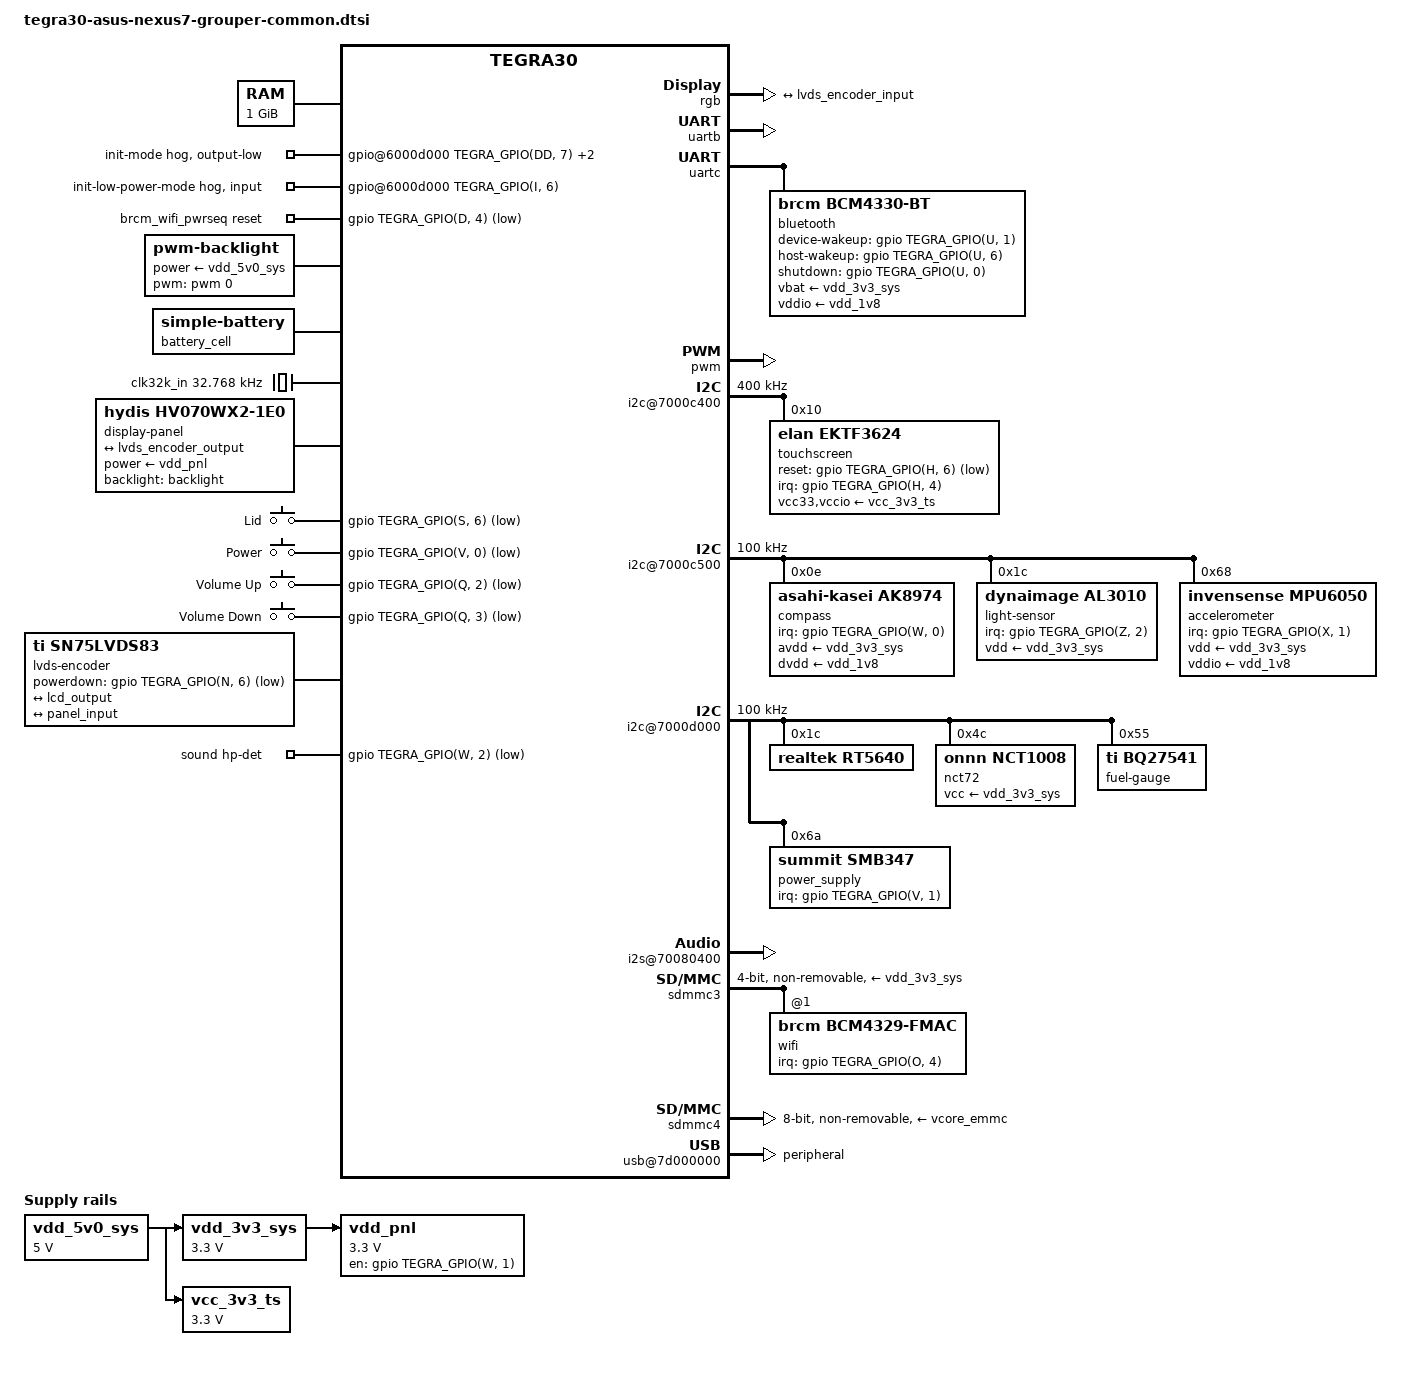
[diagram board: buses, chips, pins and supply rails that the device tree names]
// SPDX-License-Identifier: GPL-2.0

#include <dt-bindings/input/gpio-keys.h>
#include <dt-bindings/input/input.h>
#include <dt-bindings/power/summit,smb347-charger.h>
#include <dt-bindings/thermal/thermal.h>

#include "tegra30.dtsi"
#include "tegra30-cpu-opp.dtsi"
#include "tegra30-cpu-opp-microvolt.dtsi"

/ {
	aliases {
		mmc0 = &sdmmc4; /* eMMC */
		mmc1 = &sdmmc3; /* WiFi */

		rtc0 = &pmic;
		rtc1 = "/rtc@7000e000";

		serial1 = &uartc; /* Bluetooth */
		serial2 = &uartb; /* GPS */
	};

	/*
	 * The decompressor and also some bootloaders rely on a
	 * pre-existing /chosen node to be available to insert the
	 * command line and merge other ATAGS info.
	 */
	chosen {};

	memory@80000000 {
		reg = <0x80000000 0x40000000>;
	};

	reserved-memory {
		#address-cells = <1>;
		#size-cells = <1>;
		ranges;

		linux,cma@80000000 {
			compatible = "shared-dma-pool";
			alloc-ranges = <0x80000000 0x30000000>;
			size = <0x10000000>; /* 256MiB */
			linux,cma-default;
			reusable;
		};

		ramoops@bfdf0000 {
			compatible = "ramoops";
			reg = <0xbfdf0000 0x10000>;	/* 64kB */
			console-size = <0x8000>;	/* 32kB */
			record-size = <0x400>;		/*  1kB */
			ecc-size = <16>;
		};

		trustzone@bfe00000 {
			reg = <0xbfe00000 0x200000>;
			no-map;
		};
	};

	host1x@50000000 {
		dc@54200000 {
			rgb {
				status = "okay";

				port@0 {
					lcd_output: endpoint {
						remote-endpoint = <&lvds_encoder_input>;
						bus-width = <24>;
					};
				};
			};
		};
	};

	gpio@6000d000 {
		init-mode {
			gpio-hog;
			gpios =	<TEGRA_GPIO(DD, 7) GPIO_ACTIVE_HIGH>,
				<TEGRA_GPIO(CC, 6) GPIO_ACTIVE_HIGH>,
				<TEGRA_GPIO(R, 0) GPIO_ACTIVE_HIGH>;
			output-low;
		};

		init-low-power-mode {
			gpio-hog;
			gpios = <TEGRA_GPIO(I, 6) GPIO_ACTIVE_HIGH>;
			input;
		};
	};

	pinmux@70000868 {
		pinctrl-names = "default";
		pinctrl-0 = <&state_default>;

		state_default: pinmux {
			clk_32k_out_pa0 {
				nvidia,pins = "clk_32k_out_pa0";
				nvidia,function = "blink";
				nvidia,pull = <TEGRA_PIN_PULL_NONE>;
				nvidia,tristate = <TEGRA_PIN_DISABLE>;
				nvidia,enable-input = <TEGRA_PIN_DISABLE>;
			};
			uart3_cts_n_pa1 {
				nvidia,pins = "uart3_cts_n_pa1",
						"uart3_rxd_pw7";
				nvidia,function = "uartc";
				nvidia,pull = <TEGRA_PIN_PULL_NONE>;
				nvidia,tristate = <TEGRA_PIN_DISABLE>;
				nvidia,enable-input = <TEGRA_PIN_ENABLE>;
			};
			dap2_fs_pa2 {
				nvidia,pins = "dap2_fs_pa2",
						"dap2_sclk_pa3",
						"dap2_din_pa4",
						"dap2_dout_pa5";
				nvidia,function = "i2s1";
				nvidia,pull = <TEGRA_PIN_PULL_NONE>;
				nvidia,tristate = <TEGRA_PIN_DISABLE>;
				nvidia,enable-input = <TEGRA_PIN_ENABLE>;
			};
			sdmmc3_clk_pa6 {
				nvidia,pins = "sdmmc3_clk_pa6";
				nvidia,function = "sdmmc3";
				nvidia,pull = <TEGRA_PIN_PULL_NONE>;
				nvidia,tristate = <TEGRA_PIN_DISABLE>;
				nvidia,enable-input = <TEGRA_PIN_ENABLE>;
			};
			sdmmc3_cmd_pa7 {
				nvidia,pins = "sdmmc3_cmd_pa7",
						"sdmmc3_dat3_pb4",
						"sdmmc3_dat2_pb5",
						"sdmmc3_dat1_pb6",
						"sdmmc3_dat0_pb7",
						"sdmmc3_dat4_pd1",
						"sdmmc3_dat6_pd3",
						"sdmmc3_dat7_pd4";
				nvidia,function = "sdmmc3";
				nvidia,pull = <TEGRA_PIN_PULL_UP>;
				nvidia,tristate = <TEGRA_PIN_DISABLE>;
				nvidia,enable-input = <TEGRA_PIN_ENABLE>;
			};
			gmi_a17_pb0 {
				nvidia,pins = "gmi_a17_pb0",
						"gmi_a18_pb1";
				nvidia,function = "uartd";
				nvidia,pull = <TEGRA_PIN_PULL_NONE>;
				nvidia,tristate = <TEGRA_PIN_DISABLE>;
				nvidia,enable-input = <TEGRA_PIN_ENABLE>;
			};
			lcd_pwr0_pb2 {
				nvidia,pins = "lcd_pwr0_pb2",
						"lcd_pwr1_pc1",
						"lcd_m1_pw1";
				nvidia,function = "displaya";
				nvidia,pull = <TEGRA_PIN_PULL_NONE>;
				nvidia,tristate = <TEGRA_PIN_DISABLE>;
				nvidia,enable-input = <TEGRA_PIN_DISABLE>;
			};
			lcd_pclk_pb3 {
				nvidia,pins = "lcd_pclk_pb3",
						"lcd_d0_pe0",
						"lcd_d1_pe1",
						"lcd_d2_pe2",
						"lcd_d3_pe3",
						"lcd_d4_pe4",
						"lcd_d5_pe5",
						"lcd_d6_pe6",
						"lcd_d7_pe7",
						"lcd_d8_pf0",
						"lcd_d9_pf1",
						"lcd_d10_pf2",
						"lcd_d11_pf3",
						"lcd_d12_pf4",
						"lcd_d13_pf5",
						"lcd_d14_pf6",
						"lcd_d15_pf7",
						"lcd_de_pj1",
						"lcd_hsync_pj3",
						"lcd_vsync_pj4",
						"lcd_d16_pm0",
						"lcd_d17_pm1",
						"lcd_d18_pm2",
						"lcd_d19_pm3",
						"lcd_d20_pm4",
						"lcd_d21_pm5",
						"lcd_d22_pm6",
						"lcd_d23_pm7",
						"lcd_cs0_n_pn4",
						"lcd_sdout_pn5",
						"lcd_dc0_pn6",
						"lcd_cs1_n_pw0",
						"lcd_sdin_pz2",
						"lcd_sck_pz4";
				nvidia,function = "displaya";
				nvidia,pull = <TEGRA_PIN_PULL_NONE>;
				nvidia,tristate = <TEGRA_PIN_DISABLE>;
				nvidia,enable-input = <TEGRA_PIN_ENABLE>;
			};
			uart3_rts_n_pc0 {
				nvidia,pins = "uart3_rts_n_pc0",
						"uart3_txd_pw6";
				nvidia,function = "uartc";
				nvidia,pull = <TEGRA_PIN_PULL_NONE>;
				nvidia,tristate = <TEGRA_PIN_DISABLE>;
				nvidia,enable-input = <TEGRA_PIN_DISABLE>;
			};
			uart2_txd_pc2 {
				nvidia,pins = "uart2_txd_pc2",
						"uart2_rts_n_pj6";
				nvidia,function = "uartb";
				nvidia,pull = <TEGRA_PIN_PULL_NONE>;
				nvidia,tristate = <TEGRA_PIN_DISABLE>;
				nvidia,enable-input = <TEGRA_PIN_DISABLE>;
			};
			uart2_rxd_pc3 {
				nvidia,pins = "uart2_rxd_pc3",
						"uart2_cts_n_pj5";
				nvidia,function = "uartb";
				nvidia,pull = <TEGRA_PIN_PULL_NONE>;
				nvidia,tristate = <TEGRA_PIN_DISABLE>;
				nvidia,enable-input = <TEGRA_PIN_ENABLE>;
			};
			gen1_i2c_scl_pc4 {
				nvidia,pins = "gen1_i2c_scl_pc4",
						"gen1_i2c_sda_pc5";
				nvidia,function = "i2c1";
				nvidia,pull = <TEGRA_PIN_PULL_NONE>;
				nvidia,tristate = <TEGRA_PIN_DISABLE>;
				nvidia,enable-input = <TEGRA_PIN_ENABLE>;
				nvidia,open-drain = <TEGRA_PIN_ENABLE>;
			};
			gmi_wp_n_pc7 {
				nvidia,pins = "gmi_wp_n_pc7",
						"gmi_wait_pi7",
						"gmi_cs4_n_pk2",
						"gmi_cs3_n_pk4";
				nvidia,function = "rsvd1";
				nvidia,pull = <TEGRA_PIN_PULL_NONE>;
				nvidia,tristate = <TEGRA_PIN_ENABLE>;
				nvidia,enable-input = <TEGRA_PIN_DISABLE>;
			};
			gmi_ad12_ph4 {
				nvidia,pins = "gmi_ad12_ph4",
						"gmi_cs0_n_pj0",
						"gmi_cs1_n_pj2",
						"gmi_cs2_n_pk3";
				nvidia,function = "rsvd1";
				nvidia,pull = <TEGRA_PIN_PULL_NONE>;
				nvidia,tristate = <TEGRA_PIN_ENABLE>;
				nvidia,enable-input = <TEGRA_PIN_ENABLE>;
			};
			sdmmc3_dat5_pd0 {
				nvidia,pins = "sdmmc3_dat5_pd0";
				nvidia,function = "sdmmc3";
				nvidia,pull = <TEGRA_PIN_PULL_NONE>;
				nvidia,tristate = <TEGRA_PIN_DISABLE>;
				nvidia,enable-input = <TEGRA_PIN_DISABLE>;
			};
			gmi_ad0_pg0 {
				nvidia,pins = "gmi_ad0_pg0",
						"gmi_ad1_pg1",
						"gmi_ad14_ph6",
						"pu1";
				nvidia,function = "rsvd1";
				nvidia,pull = <TEGRA_PIN_PULL_NONE>;
				nvidia,tristate = <TEGRA_PIN_DISABLE>;
				nvidia,enable-input = <TEGRA_PIN_DISABLE>;
			};
			gmi_ad2_pg2 {
				nvidia,pins = "gmi_ad2_pg2",
						"gmi_ad3_pg3",
						"gmi_ad6_pg6",
						"gmi_ad7_pg7";
				nvidia,function = "rsvd1";
				nvidia,pull = <TEGRA_PIN_PULL_DOWN>;
				nvidia,tristate = <TEGRA_PIN_DISABLE>;
				nvidia,enable-input = <TEGRA_PIN_DISABLE>;
			};
			gmi_ad4_pg4 {
				nvidia,pins = "gmi_ad4_pg4",
						"gmi_ad5_pg5";
				nvidia,function = "nand";
				nvidia,pull = <TEGRA_PIN_PULL_NONE>;
				nvidia,tristate = <TEGRA_PIN_DISABLE>;
				nvidia,enable-input = <TEGRA_PIN_ENABLE>;
			};
			gmi_ad8_ph0 {
				nvidia,pins = "gmi_ad8_ph0";
				nvidia,function = "pwm0";
				nvidia,pull = <TEGRA_PIN_PULL_NONE>;
				nvidia,tristate = <TEGRA_PIN_DISABLE>;
				nvidia,enable-input = <TEGRA_PIN_DISABLE>;
			};
			gmi_ad9_ph1 {
				nvidia,pins = "gmi_ad9_ph1";
				nvidia,function = "rsvd4";
				nvidia,pull = <TEGRA_PIN_PULL_DOWN>;
				nvidia,tristate = <TEGRA_PIN_DISABLE>;
				nvidia,enable-input = <TEGRA_PIN_DISABLE>;
			};
			gmi_ad10_ph2 {
				nvidia,pins = "gmi_ad10_ph2";
				nvidia,function = "pwm2";
				nvidia,pull = <TEGRA_PIN_PULL_NONE>;
				nvidia,tristate = <TEGRA_PIN_ENABLE>;
				nvidia,enable-input = <TEGRA_PIN_DISABLE>;
			};
			gmi_ad11_ph3 {
				nvidia,pins = "gmi_ad11_ph3";
				nvidia,function = "pwm3";
				nvidia,pull = <TEGRA_PIN_PULL_NONE>;
				nvidia,tristate = <TEGRA_PIN_DISABLE>;
				nvidia,enable-input = <TEGRA_PIN_DISABLE>;
			};
			gmi_ad13_ph5 {
				nvidia,pins = "gmi_ad13_ph5",
						"gmi_wr_n_pi0",
						"gmi_oe_n_pi1",
						"gmi_adv_n_pk0";
				nvidia,function = "rsvd1";
				nvidia,pull = <TEGRA_PIN_PULL_NONE>;
				nvidia,tristate = <TEGRA_PIN_ENABLE>;
				nvidia,enable-input = <TEGRA_PIN_DISABLE>;
			};
			gmi_ad15_ph7 {
				nvidia,pins = "gmi_ad15_ph7";
				nvidia,function = "rsvd1";
				nvidia,pull = <TEGRA_PIN_PULL_UP>;
				nvidia,tristate = <TEGRA_PIN_DISABLE>;
				nvidia,enable-input = <TEGRA_PIN_DISABLE>;
			};
			gmi_dqs_pi2 {
				nvidia,pins = "gmi_dqs_pi2",
						"pu2",
						"pv1";
				nvidia,function = "rsvd1";
				nvidia,pull = <TEGRA_PIN_PULL_NONE>;
				nvidia,tristate = <TEGRA_PIN_DISABLE>;
				nvidia,enable-input = <TEGRA_PIN_ENABLE>;
			};
			gmi_rst_n_pi4 {
				nvidia,pins = "gmi_rst_n_pi4";
				nvidia,function = "nand";
				nvidia,pull = <TEGRA_PIN_PULL_UP>;
				nvidia,tristate = <TEGRA_PIN_DISABLE>;
				nvidia,enable-input = <TEGRA_PIN_DISABLE>;
			};
			gmi_iordy_pi5 {
				nvidia,pins = "gmi_iordy_pi5";
				nvidia,function = "rsvd1";
				nvidia,pull = <TEGRA_PIN_PULL_UP>;
				nvidia,tristate = <TEGRA_PIN_DISABLE>;
				nvidia,enable-input = <TEGRA_PIN_ENABLE>;
			};
			gmi_cs7_n_pi6 {
				nvidia,pins = "gmi_cs7_n_pi6",
						"gmi_clk_pk1";
				nvidia,function = "nand";
				nvidia,pull = <TEGRA_PIN_PULL_NONE>;
				nvidia,tristate = <TEGRA_PIN_ENABLE>;
				nvidia,enable-input = <TEGRA_PIN_DISABLE>;
			};
			gmi_a16_pj7 {
				nvidia,pins = "gmi_a16_pj7",
						"gmi_a19_pk7";
				nvidia,function = "uartd";
				nvidia,pull = <TEGRA_PIN_PULL_NONE>;
				nvidia,tristate = <TEGRA_PIN_DISABLE>;
				nvidia,enable-input = <TEGRA_PIN_DISABLE>;
			};
			spdif_out_pk5 {
				nvidia,pins = "spdif_out_pk5";
				nvidia,function = "spdif";
				nvidia,pull = <TEGRA_PIN_PULL_NONE>;
				nvidia,tristate = <TEGRA_PIN_DISABLE>;
				nvidia,enable-input = <TEGRA_PIN_DISABLE>;
			};
			spdif_in_pk6 {
				nvidia,pins = "spdif_in_pk6";
				nvidia,function = "spdif";
				nvidia,pull = <TEGRA_PIN_PULL_NONE>;
				nvidia,tristate = <TEGRA_PIN_DISABLE>;
				nvidia,enable-input = <TEGRA_PIN_ENABLE>;
			};
			dap1_fs_pn0 {
				nvidia,pins = "dap1_fs_pn0",
						"dap1_din_pn1",
						"dap1_dout_pn2",
						"dap1_sclk_pn3";
				nvidia,function = "i2s0";
				nvidia,pull = <TEGRA_PIN_PULL_NONE>;
				nvidia,tristate = <TEGRA_PIN_DISABLE>;
				nvidia,enable-input = <TEGRA_PIN_ENABLE>;
			};
			hdmi_int_pn7 {
				nvidia,pins = "hdmi_int_pn7";
				nvidia,function = "hdmi";
				nvidia,pull = <TEGRA_PIN_PULL_NONE>;
				nvidia,tristate = <TEGRA_PIN_ENABLE>;
				nvidia,enable-input = <TEGRA_PIN_ENABLE>;
			};
			ulpi_data7_po0 {
				nvidia,pins = "ulpi_data7_po0";
				nvidia,function = "uarta";
				nvidia,pull = <TEGRA_PIN_PULL_UP>;
				nvidia,tristate = <TEGRA_PIN_ENABLE>;
				nvidia,enable-input = <TEGRA_PIN_DISABLE>;
			};
			ulpi_data3_po4 {
				nvidia,pins = "ulpi_data3_po4";
				nvidia,function = "ulpi";
				nvidia,pull = <TEGRA_PIN_PULL_NONE>;
				nvidia,tristate = <TEGRA_PIN_DISABLE>;
				nvidia,enable-input = <TEGRA_PIN_ENABLE>;
			};
			dap3_fs_pp0 {
				nvidia,pins = "dap3_fs_pp0";
				nvidia,function = "i2s2";
				nvidia,pull = <TEGRA_PIN_PULL_NONE>;
				nvidia,tristate = <TEGRA_PIN_DISABLE>;
				nvidia,enable-input = <TEGRA_PIN_DISABLE>;
			};
			dap4_fs_pp4 {
				nvidia,pins = "dap4_fs_pp4",
						"dap4_din_pp5",
						"dap4_dout_pp6",
						"dap4_sclk_pp7";
				nvidia,function = "i2s3";
				nvidia,pull = <TEGRA_PIN_PULL_NONE>;
				nvidia,tristate = <TEGRA_PIN_DISABLE>;
				nvidia,enable-input = <TEGRA_PIN_ENABLE>;
			};
			kb_col0_pq0 {
				nvidia,pins = "kb_col0_pq0",
						"kb_col1_pq1",
						"kb_row1_pr1";
				nvidia,function = "kbc";
				nvidia,pull = <TEGRA_PIN_PULL_NONE>;
				nvidia,tristate = <TEGRA_PIN_ENABLE>;
				nvidia,enable-input = <TEGRA_PIN_DISABLE>;
			};
			kb_col2_pq2 {
				nvidia,pins = "kb_col2_pq2",
						"kb_col3_pq3";
				nvidia,function = "rsvd4";
				nvidia,pull = <TEGRA_PIN_PULL_UP>;
				nvidia,tristate = <TEGRA_PIN_ENABLE>;
				nvidia,enable-input = <TEGRA_PIN_ENABLE>;
			};
			kb_col4_pq4 {
				nvidia,pins = "kb_col4_pq4",
						"kb_col5_pq5",
						"kb_col7_pq7",
						"kb_row2_pr2",
						"kb_row4_pr4",
						"kb_row5_pr5",
						"kb_row14_ps6";
				nvidia,function = "kbc";
				nvidia,pull = <TEGRA_PIN_PULL_NONE>;
				nvidia,tristate = <TEGRA_PIN_ENABLE>;
				nvidia,enable-input = <TEGRA_PIN_ENABLE>;
			};
			kb_row0_pr0 {
				nvidia,pins = "kb_row0_pr0";
				nvidia,function = "rsvd4";
				nvidia,pull = <TEGRA_PIN_PULL_UP>;
				nvidia,tristate = <TEGRA_PIN_DISABLE>;
				nvidia,enable-input = <TEGRA_PIN_DISABLE>;
			};
			kb_row6_pr6 {
				nvidia,pins = "kb_row6_pr6",
						"kb_row8_ps0",
						"kb_row9_ps1",
						"kb_row10_ps2";
				nvidia,function = "kbc";
				nvidia,pull = <TEGRA_PIN_PULL_NONE>;
				nvidia,tristate = <TEGRA_PIN_DISABLE>;
				nvidia,enable-input = <TEGRA_PIN_DISABLE>;
			};
			kb_row11_ps3 {
				nvidia,pins = "kb_row11_ps3",
						"kb_row12_ps4";
				nvidia,function = "kbc";
				nvidia,pull = <TEGRA_PIN_PULL_NONE>;
				nvidia,tristate = <TEGRA_PIN_DISABLE>;
				nvidia,enable-input = <TEGRA_PIN_ENABLE>;
			};
			gen2_i2c_scl_pt5 {
				nvidia,pins = "gen2_i2c_scl_pt5",
						"gen2_i2c_sda_pt6";
				nvidia,function = "i2c2";
				nvidia,pull = <TEGRA_PIN_PULL_NONE>;
				nvidia,tristate = <TEGRA_PIN_DISABLE>;
				nvidia,enable-input = <TEGRA_PIN_ENABLE>;
				nvidia,open-drain = <TEGRA_PIN_ENABLE>;
			};
			sdmmc4_cmd_pt7 {
				nvidia,pins = "sdmmc4_cmd_pt7",
						"sdmmc4_dat0_paa0",
						"sdmmc4_dat1_paa1",
						"sdmmc4_dat2_paa2",
						"sdmmc4_dat3_paa3",
						"sdmmc4_dat4_paa4",
						"sdmmc4_dat5_paa5",
						"sdmmc4_dat6_paa6",
						"sdmmc4_dat7_paa7";
				nvidia,function = "sdmmc4";
				nvidia,pull = <TEGRA_PIN_PULL_UP>;
				nvidia,tristate = <TEGRA_PIN_DISABLE>;
				nvidia,enable-input = <TEGRA_PIN_ENABLE>;
			};
			pu0 {
				nvidia,pins = "pu0",
						"pu6";
				nvidia,function = "rsvd4";
				nvidia,pull = <TEGRA_PIN_PULL_NONE>;
				nvidia,tristate = <TEGRA_PIN_DISABLE>;
				nvidia,enable-input = <TEGRA_PIN_ENABLE>;
			};
			jtag_rtck_pu7 {
				nvidia,pins = "jtag_rtck_pu7";
				nvidia,function = "rtck";
				nvidia,pull = <TEGRA_PIN_PULL_UP>;
				nvidia,tristate = <TEGRA_PIN_DISABLE>;
				nvidia,enable-input = <TEGRA_PIN_ENABLE>;
			};
			pv0 {
				nvidia,pins = "pv0";
				nvidia,function = "rsvd1";
				nvidia,pull = <TEGRA_PIN_PULL_UP>;
				nvidia,tristate = <TEGRA_PIN_ENABLE>;
				nvidia,enable-input = <TEGRA_PIN_ENABLE>;
			};
			ddc_scl_pv4 {
				nvidia,pins = "ddc_scl_pv4",
						"ddc_sda_pv5";
				nvidia,function = "i2c4";
				nvidia,pull = <TEGRA_PIN_PULL_NONE>;
				nvidia,tristate = <TEGRA_PIN_DISABLE>;
				nvidia,enable-input = <TEGRA_PIN_ENABLE>;
			};
			crt_hsync_pv6 {
				nvidia,pins = "crt_hsync_pv6",
						"crt_vsync_pv7";
				nvidia,function = "crt";
				nvidia,pull = <TEGRA_PIN_PULL_NONE>;
				nvidia,tristate = <TEGRA_PIN_DISABLE>;
				nvidia,enable-input = <TEGRA_PIN_DISABLE>;
			};
			spi2_cs1_n_pw2 {
				nvidia,pins = "spi2_cs1_n_pw2",
						"spi2_miso_px1",
						"spi2_sck_px2";
				nvidia,function = "spi2";
				nvidia,pull = <TEGRA_PIN_PULL_NONE>;
				nvidia,tristate = <TEGRA_PIN_DISABLE>;
				nvidia,enable-input = <TEGRA_PIN_ENABLE>;
			};
			clk1_out_pw4 {
				nvidia,pins = "clk1_out_pw4";
				nvidia,function = "extperiph1";
				nvidia,pull = <TEGRA_PIN_PULL_NONE>;
				nvidia,tristate = <TEGRA_PIN_DISABLE>;
				nvidia,enable-input = <TEGRA_PIN_ENABLE>;
			};
			clk2_out_pw5 {
				nvidia,pins = "clk2_out_pw5";
				nvidia,function = "extperiph2";
				nvidia,pull = <TEGRA_PIN_PULL_NONE>;
				nvidia,tristate = <TEGRA_PIN_DISABLE>;
				nvidia,enable-input = <TEGRA_PIN_ENABLE>;
			};
			spi2_cs0_n_px3 {
				nvidia,pins = "spi2_cs0_n_px3";
				nvidia,function = "spi6";
				nvidia,pull = <TEGRA_PIN_PULL_UP>;
				nvidia,tristate = <TEGRA_PIN_DISABLE>;
				nvidia,enable-input = <TEGRA_PIN_ENABLE>;
			};
			spi1_mosi_px4 {
				nvidia,pins = "spi1_mosi_px4",
						"spi1_cs0_n_px6";
				nvidia,function = "spi1";
				nvidia,pull = <TEGRA_PIN_PULL_NONE>;
				nvidia,tristate = <TEGRA_PIN_DISABLE>;
				nvidia,enable-input = <TEGRA_PIN_ENABLE>;
			};
			ulpi_clk_py0 {
				nvidia,pins = "ulpi_clk_py0",
						"ulpi_dir_py1";
				nvidia,function = "ulpi";
				nvidia,pull = <TEGRA_PIN_PULL_NONE>;
				nvidia,tristate = <TEGRA_PIN_ENABLE>;
				nvidia,enable-input = <TEGRA_PIN_DISABLE>;
			};
			sdmmc1_dat3_py4 {
				nvidia,pins = "sdmmc1_dat3_py4",
						"sdmmc1_dat2_py5",
						"sdmmc1_dat1_py6",
						"sdmmc1_dat0_py7",
						"sdmmc1_cmd_pz1";
				nvidia,function = "sdmmc1";
				nvidia,pull = <TEGRA_PIN_PULL_UP>;
				nvidia,tristate = <TEGRA_PIN_DISABLE>;
				nvidia,enable-input = <TEGRA_PIN_ENABLE>;
			};
			sdmmc1_clk_pz0 {
				nvidia,pins = "sdmmc1_clk_pz0";
				nvidia,function = "sdmmc1";
				nvidia,pull = <TEGRA_PIN_PULL_NONE>;
				nvidia,tristate = <TEGRA_PIN_DISABLE>;
				nvidia,enable-input = <TEGRA_PIN_ENABLE>;
			};
			lcd_wr_n_pz3 {
				nvidia,pins = "lcd_wr_n_pz3";
				nvidia,function = "displaya";
				nvidia,pull = <TEGRA_PIN_PULL_UP>;
				nvidia,tristate = <TEGRA_PIN_DISABLE>;
				nvidia,enable-input = <TEGRA_PIN_ENABLE>;
			};
			sys_clk_req_pz5 {
				nvidia,pins = "sys_clk_req_pz5";
				nvidia,function = "sysclk";
				nvidia,pull = <TEGRA_PIN_PULL_NONE>;
				nvidia,tristate = <TEGRA_PIN_DISABLE>;
				nvidia,enable-input = <TEGRA_PIN_DISABLE>;
			};
			pwr_i2c_scl_pz6 {
				nvidia,pins = "pwr_i2c_scl_pz6",
						"pwr_i2c_sda_pz7";
				nvidia,function = "i2cpwr";
				nvidia,pull = <TEGRA_PIN_PULL_NONE>;
				nvidia,tristate = <TEGRA_PIN_DISABLE>;
				nvidia,enable-input = <TEGRA_PIN_ENABLE>;
				nvidia,open-drain = <TEGRA_PIN_ENABLE>;
			};
			pbb0 {
				nvidia,pins = "pbb0",
						"pcc1";
				nvidia,function = "rsvd2";
				nvidia,pull = <TEGRA_PIN_PULL_NONE>;
				nvidia,tristate = <TEGRA_PIN_DISABLE>;
				nvidia,enable-input = <TEGRA_PIN_ENABLE>;
			};
			cam_i2c_scl_pbb1 {
				nvidia,pins = "cam_i2c_scl_pbb1",
						"cam_i2c_sda_pbb2";
				nvidia,function = "i2c3";
				nvidia,pull = <TEGRA_PIN_PULL_NONE>;
				nvidia,tristate = <TEGRA_PIN_DISABLE>;
				nvidia,enable-input = <TEGRA_PIN_ENABLE>;
				nvidia,open-drain = <TEGRA_PIN_ENABLE>;
			};
			pbb3 {
				nvidia,pins = "pbb3";
				nvidia,function = "vgp3";
				nvidia,pull = <TEGRA_PIN_PULL_NONE>;
				nvidia,tristate = <TEGRA_PIN_DISABLE>;
				nvidia,enable-input = <TEGRA_PIN_ENABLE>;
			};
			pbb4 {
				nvidia,pins = "pbb4";
				nvidia,function = "vgp4";
				nvidia,pull = <TEGRA_PIN_PULL_NONE>;
				nvidia,tristate = <TEGRA_PIN_DISABLE>;
				nvidia,enable-input = <TEGRA_PIN_ENABLE>;
			};
			pbb5 {
				nvidia,pins = "pbb5";
				nvidia,function = "vgp5";
				nvidia,pull = <TEGRA_PIN_PULL_NONE>;
				nvidia,tristate = <TEGRA_PIN_DISABLE>;
				nvidia,enable-input = <TEGRA_PIN_ENABLE>;
			};
			pbb6 {
				nvidia,pins = "pbb6";
				nvidia,function = "vgp6";
				nvidia,pull = <TEGRA_PIN_PULL_NONE>;
				nvidia,tristate = <TEGRA_PIN_DISABLE>;
				nvidia,enable-input = <TEGRA_PIN_ENABLE>;
			};
			pbb7 {
				nvidia,pins = "pbb7",
						"pcc2";
				nvidia,function = "i2s4";
				nvidia,pull = <TEGRA_PIN_PULL_NONE>;
				nvidia,tristate = <TEGRA_PIN_DISABLE>;
				nvidia,enable-input = <TEGRA_PIN_ENABLE>;
			};
			cam_mclk_pcc0 {
				nvidia,pins = "cam_mclk_pcc0";
				nvidia,function = "vi_alt3";
				nvidia,pull = <TEGRA_PIN_PULL_DOWN>;
				nvidia,tristate = <TEGRA_PIN_DISABLE>;
				nvidia,enable-input = <TEGRA_PIN_ENABLE>;
			};
			sdmmc4_rst_n_pcc3 {
				nvidia,pins = "sdmmc4_rst_n_pcc3";
				nvidia,function = "rsvd2";
				nvidia,pull = <TEGRA_PIN_PULL_DOWN>;
				nvidia,tristate = <TEGRA_PIN_DISABLE>;
				nvidia,enable-input = <TEGRA_PIN_ENABLE>;
			};
			sdmmc4_clk_pcc4 {
				nvidia,pins = "sdmmc4_clk_pcc4";
				nvidia,function = "sdmmc4";
				nvidia,pull = <TEGRA_PIN_PULL_NONE>;
				nvidia,tristate = <TEGRA_PIN_DISABLE>;
				nvidia,enable-input = <TEGRA_PIN_ENABLE>;
			};
			clk2_req_pcc5 {
				nvidia,pins = "clk2_req_pcc5";
				nvidia,function = "dap";
				nvidia,pull = <TEGRA_PIN_PULL_NONE>;
				nvidia,tristate = <TEGRA_PIN_DISABLE>;
				nvidia,enable-input = <TEGRA_PIN_ENABLE>;
			};
			pex_l2_rst_n_pcc6 {
				nvidia,pins = "pex_l2_rst_n_pcc6",
						"pex_l2_clkreq_n_pcc7";
				nvidia,function = "pcie";
				nvidia,pull = <TEGRA_PIN_PULL_NONE>;
				nvidia,tristate = <TEGRA_PIN_DISABLE>;
				nvidia,enable-input = <TEGRA_PIN_DISABLE>;
			};
			pex_wake_n_pdd3 {
				nvidia,pins = "pex_wake_n_pdd3",
						"pex_l2_prsnt_n_pdd7";
				nvidia,function = "pcie";
				nvidia,pull = <TEGRA_PIN_PULL_NONE>;
				nvidia,tristate = <TEGRA_PIN_DISABLE>;
				nvidia,enable-input = <TEGRA_PIN_ENABLE>;
			};
			clk3_out_pee0 {
				nvidia,pins = "clk3_out_pee0";
				nvidia,function = "extperiph3";
				nvidia,pull = <TEGRA_PIN_PULL_NONE>;
				nvidia,tristate = <TEGRA_PIN_DISABLE>;
				nvidia,enable-input = <TEGRA_PIN_DISABLE>;
			};
			clk1_req_pee2 {
				nvidia,pins = "clk1_req_pee2";
				nvidia,function = "dap";
				nvidia,pull = <TEGRA_PIN_PULL_NONE>;
				nvidia,tristate = <TEGRA_PIN_ENABLE>;
				nvidia,enable-input = <TEGRA_PIN_DISABLE>;
			};
			hdmi_cec_pee3 {
				nvidia,pins = "hdmi_cec_pee3";
				nvidia,function = "cec";
				nvidia,pull = <TEGRA_PIN_PULL_NONE>;
				nvidia,tristate = <TEGRA_PIN_DISABLE>;
				nvidia,enable-input = <TEGRA_PIN_ENABLE>;
				nvidia,open-drain = <TEGRA_PIN_DISABLE>;
			};
			owr {
				nvidia,pins = "owr";
				nvidia,function = "owr";
				nvidia,pull = <TEGRA_PIN_PULL_NONE>;
				nvidia,tristate = <TEGRA_PIN_DISABLE>;
				nvidia,enable-input = <TEGRA_PIN_ENABLE>;
			};
			drive_dap1 {
				nvidia,pins = "drive_dap1",
						"drive_dap2",
						"drive_dbg",
						"drive_at5",
						"drive_gme",
						"drive_ddc",
						"drive_ao1",
						"drive_uart3";
				nvidia,high-speed-mode = <0>;
				nvidia,schmitt = <TEGRA_PIN_ENABLE>;
				nvidia,low-power-mode = <TEGRA_PIN_LP_DRIVE_DIV_1>;
				nvidia,pull-down-strength = <31>;
				nvidia,pull-up-strength = <31>;
				nvidia,slew-rate-rising = <TEGRA_PIN_SLEW_RATE_FASTEST>;
				nvidia,slew-rate-falling = <TEGRA_PIN_SLEW_RATE_FASTEST>;
			};
			drive_sdio1 {
				nvidia,pins = "drive_sdio1",
						"drive_sdio3";
				nvidia,high-speed-mode = <0>;
				nvidia,schmitt = <TEGRA_PIN_DISABLE>;
				nvidia,pull-down-strength = <46>;
				nvidia,pull-up-strength = <42>;
				nvidia,slew-rate-rising = <TEGRA_PIN_SLEW_RATE_FAST>;
				nvidia,slew-rate-falling = <TEGRA_PIN_SLEW_RATE_FAST>;
			};
			drive_gma {
				nvidia,pins = "drive_gma",
						"drive_gmb",
						"drive_gmc",
						"drive_gmd";
				nvidia,pull-down-strength = <9>;
				nvidia,pull-up-strength = <9>;
				nvidia,slew-rate-rising = <TEGRA_PIN_SLEW_RATE_SLOWEST>;
				nvidia,slew-rate-falling = <TEGRA_PIN_SLEW_RATE_SLOWEST>;
			};
		};
	};

	uartb: serial@70006040 {
		compatible = "nvidia,tegra30-hsuart";
		/* GPS BCM4751 */
	};

	uartc: serial@70006200 {
		compatible = "nvidia,tegra30-hsuart";
		status = "okay";

		nvidia,adjust-baud-rates = <0 9600 100>,
					   <9600 115200 200>,
					   <1000000 4000000 136>;

		/* Azurewave AW-NH665 BCM4330B1 */
		bluetooth {
			compatible = "brcm,bcm4330-bt";

			max-speed = <4000000>;

			clocks = <&tegra_pmc TEGRA_PMC_CLK_BLINK>;
			clock-names = "txco";

			vbat-supply  = <&vdd_3v3_sys>;
			vddio-supply = <&vdd_1v8>;

			device-wakeup-gpios = <&gpio TEGRA_GPIO(U, 1) GPIO_ACTIVE_HIGH>;
			host-wakeup-gpios =   <&gpio TEGRA_GPIO(U, 6) GPIO_ACTIVE_HIGH>;
			shutdown-gpios =      <&gpio TEGRA_GPIO(U, 0) GPIO_ACTIVE_HIGH>;
		};
	};

	pwm: pwm@7000a000 {
		status = "okay";
	};

	i2c@7000c400 {
		clock-frequency = <400000>;
		status = "okay";

		touchscreen@10 {
			compatible ="elan,ektf3624";
			reg = <0x10>;

			interrupt-parent = <&gpio>;
			interrupts = <TEGRA_GPIO(H, 4) IRQ_TYPE_LEVEL_LOW>;

			reset-gpios = <&gpio TEGRA_GPIO(H, 6) GPIO_ACTIVE_LOW>;

			vcc33-supply = <&vcc_3v3_ts>;
			vccio-supply = <&vcc_3v3_ts>;

			touchscreen-size-x = <2112>;
			touchscreen-size-y = <1280>;
			touchscreen-swapped-x-y;
			touchscreen-inverted-x;
		};
	};

	i2c@7000c500 {
		clock-frequency = <100000>;
		status = "okay";

		compass@e {
			compatible = "asahi-kasei,ak8974";
			reg = <0x0e>;

			interrupt-parent = <&gpio>;
			interrupts = <TEGRA_GPIO(W, 0) IRQ_TYPE_EDGE_RISING>;

			avdd-supply = <&vdd_3v3_sys>;
			dvdd-supply = <&vdd_1v8>;

			mount-matrix =	 "0", "-1",  "0",
					"-1",  "0",  "0",
					 "0",  "0", "-1";
		};

		light-sensor@1c {
			compatible = "dynaimage,al3010";
			reg = <0x1c>;

			interrupt-parent = <&gpio>;
			interrupts = <TEGRA_GPIO(Z, 2) IRQ_TYPE_LEVEL_HIGH>;

			vdd-supply = <&vdd_3v3_sys>;
		};

		accelerometer@68 {
			compatible = "invensense,mpu6050";
			reg = <0x68>;

			interrupt-parent = <&gpio>;
			interrupts = <TEGRA_GPIO(X, 1) IRQ_TYPE_EDGE_RISING>;

			vdd-supply   = <&vdd_3v3_sys>;
			vddio-supply = <&vdd_1v8>;

			mount-matrix =	 "0", "-1",  "0",
					"-1",  "0",  "0",
					 "0",  "0", "-1";
		};
	};

	i2c@7000d000 {
		clock-frequency = <100000>;
		status = "okay";

		rt5640: audio-codec@1c {
			compatible = "realtek,rt5640";
			reg = <0x1c>;

			realtek,dmic1-data-pin = <1>;
		};

		nct72: temperature-sensor@4c {
			compatible = "onnn,nct1008";
			reg = <0x4c>;
			vcc-supply = <&vdd_3v3_sys>;
			#thermal-sensor-cells = <1>;
		};

		fuel-gauge@55 {
			compatible = "ti,bq27541";
			reg = <0x55>;
			power-supplies = <&power_supply>;
			monitored-battery = <&battery_cell>;
		};

		power_supply: charger@6a {
			compatible = "summit,smb347";
			reg = <0x6a>;

			interrupt-parent = <&gpio>;
			interrupts = <TEGRA_GPIO(V, 1) IRQ_TYPE_EDGE_BOTH>;

			summit,enable-charge-control = <SMB3XX_CHG_ENABLE_PIN_ACTIVE_LOW>;
			summit,enable-usb-charging;

			monitored-battery = <&battery_cell>;
		};
	};

	pmc@7000e400 {
		status = "okay";
		nvidia,invert-interrupt;
		nvidia,suspend-mode = <1>;
		nvidia,cpu-pwr-good-time = <2000>;
		nvidia,cpu-pwr-off-time = <200>;
		nvidia,core-pwr-good-time = <3845 3845>;
		nvidia,core-pwr-off-time = <0>;
		nvidia,core-power-req-active-high;
		nvidia,sys-clock-req-active-high;
	};

	ahub@70080000 {
		i2s@70080400 {
			status = "okay";
		};
	};

	brcm_wifi_pwrseq: wifi-pwrseq {
		compatible = "mmc-pwrseq-simple";

		clocks = <&tegra_pmc TEGRA_PMC_CLK_BLINK>;
		clock-names = "ext_clock";

		reset-gpios = <&gpio TEGRA_GPIO(D, 4) GPIO_ACTIVE_LOW>;
		post-power-on-delay-ms = <300>;
		power-off-delay-us = <300>;
	};

	sdmmc3: mmc@78000400 {
		status = "okay";

		#address-cells = <1>;
		#size-cells = <0>;

		assigned-clocks = <&tegra_car TEGRA30_CLK_SDMMC3>;
		assigned-clock-parents = <&tegra_car TEGRA30_CLK_PLL_C>;
		assigned-clock-rates = <50000000>;

		max-frequency = <50000000>;
		keep-power-in-suspend;
		bus-width = <4>;
		non-removable;

		mmc-pwrseq = <&brcm_wifi_pwrseq>;
		vmmc-supply = <&vdd_3v3_sys>;
		vqmmc-supply = <&vdd_1v8>;

		/* Azurewave AW-NH665 BCM4330 */
		wifi@1 {
			reg = <1>;
			compatible = "brcm,bcm4329-fmac";
			interrupt-parent = <&gpio>;
			interrupts = <TEGRA_GPIO(O, 4) IRQ_TYPE_LEVEL_HIGH>;
			interrupt-names = "host-wake";
		};
	};

	sdmmc4: mmc@78000600 {
		status = "okay";
		bus-width = <8>;
		vmmc-supply = <&vcore_emmc>;
		vqmmc-supply = <&vdd_1v8>;
		non-removable;
	};

	usb@7d000000 {
		compatible = "nvidia,tegra30-udc";
		status = "okay";
		dr_mode = "peripheral";
	};

	usb-phy@7d000000 {
		status = "okay";
		dr_mode = "peripheral";
		nvidia,hssync-start-delay = <0>;
		nvidia,xcvr-lsfslew = <2>;
		nvidia,xcvr-lsrslew = <2>;
	};

	backlight: backlight {
		compatible = "pwm-backlight";

		power-supply = <&vdd_5v0_sys>;
		pwms = <&pwm 0 50000>;

		brightness-levels = <1 255>;
		num-interpolated-steps = <254>;
		default-brightness-level = <15>;
	};

	battery_cell: battery-cell {
		compatible = "simple-battery";
		constant-charge-current-max-microamp = <1800000>;
		operating-range-celsius = <0 45>;
	};

	/* PMIC has a built-in 32KHz oscillator which is used by PMC */
	clk32k_in: clock@0 {
		compatible = "fixed-clock";
		#clock-cells = <0>;
		clock-frequency = <32768>;
		clock-output-names = "pmic-oscillator";
	};

	cpus {
		cpu0: cpu@0 {
			cpu-supply = <&vdd_cpu>;
			operating-points-v2 = <&cpu0_opp_table>;
			#cooling-cells = <2>;
		};

		cpu@1 {
			cpu-supply = <&vdd_cpu>;
			operating-points-v2 = <&cpu0_opp_table>;
		};

		cpu@2 {
			cpu-supply = <&vdd_cpu>;
			operating-points-v2 = <&cpu0_opp_table>;
		};

		cpu@3 {
			cpu-supply = <&vdd_cpu>;
			operating-points-v2 = <&cpu0_opp_table>;
		};
	};

	display-panel {
		compatible = "hydis,hv070wx2-1e0", "chunghwa,claa070wp03xg",
			     "panel-lvds";

		power-supply = <&vdd_pnl>;
		backlight = <&backlight>;

		width-mm = <94>;
		height-mm = <150>;
		rotation = <180>;

		data-mapping = "jeida-24";

		port {
			panel_input: endpoint {
				remote-endpoint = <&lvds_encoder_output>;
			};
		};
	};

	firmware {
		trusted-foundations {
			compatible = "tlm,trusted-foundations";
			tlm,version-major = <0x0>;
			tlm,version-minor = <0x0>;
		};
	};

	gpio-keys {
		compatible = "gpio-keys";

		hall-sensor {
			label = "Lid";
			gpios = <&gpio TEGRA_GPIO(S, 6) GPIO_ACTIVE_LOW>;
			linux,input-type = <EV_SW>;
			linux,code = <SW_LID>;
			debounce-interval = <500>;
			wakeup-event-action = <EV_ACT_DEASSERTED>;
			wakeup-source;
		};

		power {
			label = "Power";
			gpios = <&gpio TEGRA_GPIO(V, 0) GPIO_ACTIVE_LOW>;
			linux,code = <KEY_POWER>;
			debounce-interval = <10>;
			wakeup-event-action = <EV_ACT_ASSERTED>;
			wakeup-source;
		};

		volume-up {
			label = "Volume Up";
			gpios = <&gpio TEGRA_GPIO(Q, 2) GPIO_ACTIVE_LOW>;
			linux,code = <KEY_VOLUMEUP>;
			debounce-interval = <10>;
			wakeup-event-action = <EV_ACT_ASSERTED>;
			wakeup-source;
		};

		volume-down {
			label = "Volume Down";
			gpios = <&gpio TEGRA_GPIO(Q, 3) GPIO_ACTIVE_LOW>;
			linux,code = <KEY_VOLUMEDOWN>;
			debounce-interval = <10>;
			wakeup-event-action = <EV_ACT_ASSERTED>;
			wakeup-source;
		};
	};

	lvds-encoder {
		compatible = "ti,sn75lvds83", "lvds-encoder";

		powerdown-gpios = <&gpio TEGRA_GPIO(N, 6) GPIO_ACTIVE_LOW>;

		ports {
			#address-cells = <1>;
			#size-cells = <0>;

			port@0 {
				reg = <0>;

				lvds_encoder_input: endpoint {
					remote-endpoint = <&lcd_output>;
				};
			};

			port@1 {
				reg = <1>;

				lvds_encoder_output: endpoint {
					remote-endpoint = <&panel_input>;
				};
			};
		};
	};

	vdd_5v0_sys: regulator@0 {
		compatible = "regulator-fixed";
		regulator-name = "vdd_5v0";
		regulator-min-microvolt = <5000000>;
		regulator-max-microvolt = <5000000>;
		regulator-always-on;
		regulator-boot-on;
	};

	vdd_3v3_sys: regulator@1 {
		compatible = "regulator-fixed";
		regulator-name = "vdd_3v3";
		regulator-min-microvolt = <3300000>;
		regulator-max-microvolt = <3300000>;
		regulator-always-on;
		regulator-boot-on;
		vin-supply = <&vdd_5v0_sys>;
	};

	vdd_pnl: regulator@2 {
		compatible = "regulator-fixed";
		regulator-name = "vdd_panel";
		regulator-min-microvolt = <3300000>;
		regulator-max-microvolt = <3300000>;
		regulator-enable-ramp-delay = <300000>;
		gpio = <&gpio TEGRA_GPIO(W, 1) GPIO_ACTIVE_HIGH>;
		enable-active-high;
		vin-supply = <&vdd_3v3_sys>;
	};

	vcc_3v3_ts: regulator@3 {
		compatible = "regulator-fixed";
		regulator-name = "ldo_s-1167_3v3";
		regulator-min-microvolt = <3300000>;
		regulator-max-microvolt = <3300000>;
		regulator-always-on;
		regulator-boot-on;
		vin-supply = <&vdd_5v0_sys>;
	};

	sound {
		compatible = "nvidia,tegra-audio-rt5640-grouper",
			     "nvidia,tegra-audio-rt5640";
		nvidia,model = "ASUS Google Nexus 7 ALC5642";

		nvidia,audio-routing =
			"Headphones", "HPOR",
			"Headphones", "HPOL",
			"Speakers", "SPORP",
			"Speakers", "SPORN",
			"Speakers", "SPOLP",
			"Speakers", "SPOLN",
			"DMIC1", "Mic Jack";

		nvidia,i2s-controller = <&tegra_i2s1>;
		nvidia,audio-codec = <&rt5640>;

		nvidia,hp-det-gpios = <&gpio TEGRA_GPIO(W, 2) GPIO_ACTIVE_LOW>;

		clocks = <&tegra_car TEGRA30_CLK_PLL_A>,
			 <&tegra_car TEGRA30_CLK_PLL_A_OUT0>,
			 <&tegra_pmc TEGRA_PMC_CLK_OUT_1>;
		clock-names = "pll_a", "pll_a_out0", "mclk";

		assigned-clocks = <&tegra_car TEGRA30_CLK_EXTERN1>,
				  <&tegra_pmc TEGRA_PMC_CLK_OUT_1>;

		assigned-clock-parents = <&tegra_car TEGRA30_CLK_PLL_A_OUT0>,
					 <&tegra_car TEGRA30_CLK_EXTERN1>;
	};

	thermal-zones {
		nct72-local {
			polling-delay-passive = <1000>; /* milliseconds */
			polling-delay = <0>; /* milliseconds */

			thermal-sensors = <&nct72 0>;
		};

		nct72-remote {
			polling-delay-passive = <1000>; /* milliseconds */
			polling-delay = <5000>; /* milliseconds */

			thermal-sensors = <&nct72 1>;

			trips {
				trip0: cpu-alert0 {
					/* start throttling at 50C */
					temperature = <50000>;
					hysteresis = <3000>;
					type = "passive";
				};

				trip1: cpu-crit {
					/* shut down at 60C */
					temperature = <60000>;
					hysteresis = <2000>;
					type = "critical";
				};
			};

			cooling-maps {
				map0 {
					trip = <&trip0>;
					cooling-device = <&cpu0 THERMAL_NO_LIMIT THERMAL_NO_LIMIT>;
				};
			};
		};
	};
};
